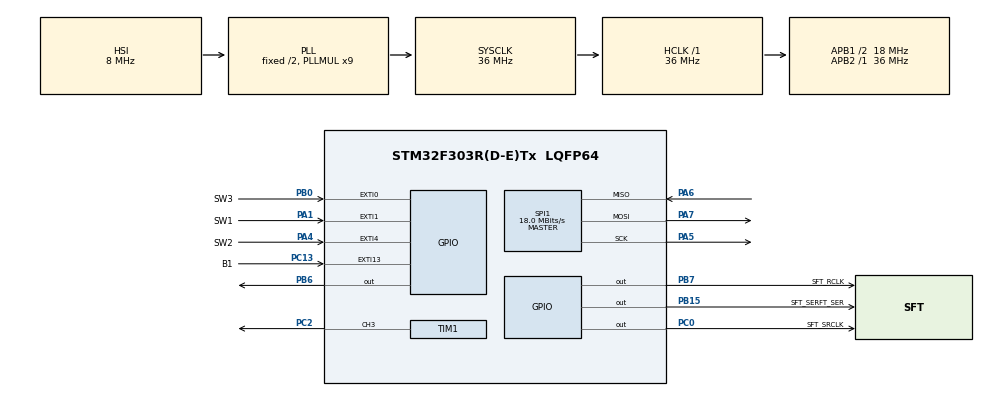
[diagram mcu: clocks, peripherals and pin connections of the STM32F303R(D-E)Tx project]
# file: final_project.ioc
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Mcu.Family=STM32F3
Mcu.Name=STM32F303R(D-E)Tx
Mcu.Package=LQFP64
NVIC.EXTI0_IRQn=true\:0\:0\:false\:false\:true\:true\:true\:true
NVIC.EXTI15_10_IRQn=true\:0\:0\:false\:false\:true\:true\:true\:true
NVIC.EXTI1_IRQn=true\:0\:0\:false\:false\:true\:true\:true\:true
NVIC.EXTI4_IRQn=true\:0\:0\:false\:false\:true\:true\:true\:true
NVIC.PriorityGroup=NVIC_PRIORITYGROUP_0
NVIC.SPI1_IRQn=true\:0\:0\:false\:false\:true\:true\:true\:true
NVIC.TIM6_DAC_IRQn=true\:0\:0\:false\:false\:true\:true\:true\:true
NVIC.TIM7_IRQn=true\:0\:0\:false\:false\:true\:true\:true\:true
PA1.GPIO_Label=SW1
PA1.GPIO_ModeDefaultEXTI=GPIO_MODE_IT_RISING_FALLING
PA1.Signal=GPXTI1
PA4.GPIO_Label=SW2
PA4.GPIO_ModeDefaultEXTI=GPIO_MODE_IT_RISING_FALLING
PA4.Signal=GPXTI4
PA5.Mode=Full_Duplex_Master
PA5.Signal=SPI1_SCK
PA6.Mode=Full_Duplex_Master
PA6.Signal=SPI1_MISO
PA7.Mode=Full_Duplex_Master
PA7.Signal=SPI1_MOSI
PB0.GPIO_Label=SW3
PB0.GPIO_ModeDefaultEXTI=GPIO_MODE_IT_RISING_FALLING
PB0.Signal=GPXTI0
PB15.GPIO_Label=SFT_SERFT_SER
PB15.Signal=GPIO_Output
PB6.Signal=GPIO_Output
PB7.GPIO_Label=SFT_RCLK
PB7.Signal=GPIO_Output
PC0.GPIO_Label=SFT_SRCLK
PC0.Signal=GPIO_Output
PC13.GPIO_Label=B1
PC13.Signal=GPXTI13
PC2.Signal=S_TIM1_CH3
ProjectManager.HeapSize=0x200
ProjectManager.StackSize=0x400
ProjectManager.TargetToolchain=STM32CubeIDE
RCC.AHBFreq_Value=36000000
RCC.APB1CLKDivider=RCC_HCLK_DIV2
RCC.APB1Freq_Value=18000000
RCC.APB1TimFreq_Value=36000000
RCC.APB2Freq_Value=36000000
RCC.APB2TimFreq_Value=36000000
RCC.CortexFreq_Value=36000000
RCC.HCLKFreq_Value=36000000
RCC.HSE_VALUE=8000000
RCC.HSI_VALUE=8000000
RCC.LSE_VALUE=32768
RCC.PLLM=8
RCC.PLLMUL=RCC_PLL_MUL9
RCC.PLLN=336
RCC.PLLP=RCC_PLLP_DIV4
RCC.PLLQ=7
RCC.RCC_PLLsource_Clock_Source_FROM_HSE=RCC_HSE_PREDIV_DIV2
RCC.SYSCLKFreq_VALUE=36000000
RCC.SYSCLKSourceVirtual=RCC_SYSCLKSOURCE_PLLCLK
RCC.USBFreq_Value=36000000
SH.S_TIM1_CH3.0=TIM1_CH3,PWM Generation3 CH3
SPI1.BaudRatePrescaler=SPI_BAUDRATEPRESCALER_2
SPI1.CLKPhase=SPI_PHASE_2EDGE
SPI1.CLKPolarity=SPI_POLARITY_HIGH
SPI1.CRCCalculation=SPI_CRCCALCULATION_DISABLE
SPI1.CalculateBaudRate=18.0 MBits/s
SPI1.DataSize=SPI_DATASIZE_8BIT
SPI1.Direction=SPI_DIRECTION_2LINES
SPI1.Mode=SPI_MODE_MASTER
SPI1.VirtualType=VM_MASTER
TIM1.Channel-PWM\ Generation3\ CH3=TIM_CHANNEL_3
TIM1.Period=296
TIM1.Prescaler=999
TIM1.Pulse-PWM\ Generation3\ CH3=198
TIM6.Period=7199
TIM6.Prescaler=9999
TIM7.Period=71
TIM7.Prescaler=999
VP_TIM1_VS_ClockSourceINT.Mode=Internal
VP_TIM6_VS_ClockSourceINT.Mode=Enable_Timer
VP_TIM7_VS_ClockSourceINT.Mode=Enable_Timer
board=NUCLEO-F303RE

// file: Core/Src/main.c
/* USER CODE BEGIN Header */
/**
  ******************************************************************************
  * @file           : main.c
  * @brief          : Main program body
  ******************************************************************************
  * @attention
  *
  * Copyright (c) 2025 STMicroelectronics.
  * All rights reserved.
  *
  * This software is licensed under terms that can be found in the LICENSE file
  * in the root directory of this software component.
  * If no LICENSE file comes with this software, it is provided AS-IS.
  *
  ******************************************************************************
  */
/* USER CODE END Header */
#include "main.h"

/* USER CODE BEGIN Includes */
#include "coast.h"
#include "interrupt.h"
#include "buzzer.h"
#include <stdbool.h>
/* USER CODE END Includes */

/* USER CODE BEGIN PD */
#define LSM6DS3_CS_PORT GPIOB
#define LSM6DS3_CS_PIN  GPIO_PIN_6

#define LSM6DS3_CS_LOW()  HAL_GPIO_WritePin(LSM6DS3_CS_PORT, LSM6DS3_CS_PIN, GPIO_PIN_RESET)
#define LSM6DS3_CS_HIGH() HAL_GPIO_WritePin(LSM6DS3_CS_PORT, LSM6DS3_CS_PIN, GPIO_PIN_SET)

/* USER CODE END PD */

SPI_HandleTypeDef hspi1;

TIM_HandleTypeDef htim1;
TIM_HandleTypeDef htim6;
TIM_HandleTypeDef htim7;

/* USER CODE BEGIN PV */
uint32_t seconds = 0;
uint32_t period_count = 0;
uint32_t decimal_second_count = 0;
uint32_t button_double_press_time[4];
uint32_t button_holding_time[4];

/* button press check */
bool button1 = false;
bool button2 = false;
bool button3 = false;
bool buttonB = false;

/* double press interval and holding time */
uint32_t double_press_interval = 10;
uint32_t holding_bound = 15;
/* press check */
bool is_single_press[4];
bool is_double_press[4];
bool is_holding[4];

/* sound setting */
bool enable_sound = true;
bool enable_vibration = true;

/* screen navigation */
typedef struct {
	bool screen_homepage;
	bool sceen_countdown;
	bool screen_stopwatch;
	bool screen_alarm;
	bool screen_setting_1;
	bool screen_setting_2;
}Navigation;

Navigation screen = {
    .screen_homepage = true,
    .sceen_countdown = false,
    .screen_stopwatch = false,
    .screen_alarm = false,
    .screen_setting_1 = false,
    .screen_setting_2 = false
};

/*  */

/* Private functions ---------------------------------------------------------*/

/* USER CODE END PV */

void SystemClock_Config(void);
static void MX_GPIO_Init(void);
static void MX_TIM1_Init(void);
static void MX_TIM6_Init(void);
static void MX_TIM7_Init(void);
static void MX_SPI1_Init(void);
/* USER CODE BEGIN PFP */
extern void coast_asm_delay(uint32_t milliseconds);
uint8_t LSM6DS3_ReadReg(uint8_t reg_addr);
void LSM6DS3_WriteReg(uint8_t reg_addr, uint8_t data);
void LSM6DS3_Test();
/* USER CODE END PFP */

int main(void)
{

  /* MCU Configuration--------------------------------------------------------*/

  /* Reset of all peripherals, Initializes the Flash interface and the Systick. */
  HAL_Init();

  /* Configure the system clock */
  SystemClock_Config();

  /* Initialize all configured peripherals */
  MX_GPIO_Init();
  MX_TIM1_Init();
  MX_TIM6_Init();
  MX_TIM7_Init();
  MX_SPI1_Init();
  /* USER CODE BEGIN 2 */
  HAL_Delay(100);

  LSM6DS3_Test();
  HAL_TIM_Base_Start_IT(&htim6);
  HAL_TIM_Base_Start_IT(&htim7);

  // 启用加速度器，104Hz，2g，BW=50Hz
  LSM6DS3_WriteReg(0x10, 0x40);  // CTRL1_XL

//  for (int i =0 ; i < 4; i++) {
//	  button_double_press_time[i] = 0;
//	  button_holding_time[i] = 0;
//  }
  /* USER CODE END 2 */

  /* Infinite loop */
  while (1)
  {

  }
}

void SystemClock_Config(void)
{
  RCC_OscInitTypeDef RCC_OscInitStruct = {0};
  RCC_ClkInitTypeDef RCC_ClkInitStruct = {0};
  RCC_PeriphCLKInitTypeDef PeriphClkInit = {0};

  /** Initializes the RCC Oscillators according to the specified parameters
  * in the RCC_OscInitTypeDef structure.
  */
  RCC_OscInitStruct.OscillatorType = RCC_OSCILLATORTYPE_HSI;
  RCC_OscInitStruct.HSIState = RCC_HSI_ON;
  RCC_OscInitStruct.HSICalibrationValue = RCC_HSICALIBRATION_DEFAULT;
  RCC_OscInitStruct.PLL.PLLState = RCC_PLL_ON;
  RCC_OscInitStruct.PLL.PLLSource = RCC_PLLSOURCE_HSI;
  RCC_OscInitStruct.PLL.PLLMUL = RCC_PLL_MUL9;
  RCC_OscInitStruct.PLL.PREDIV = RCC_PREDIV_DIV1;
  if (HAL_RCC_OscConfig(&RCC_OscInitStruct) != HAL_OK)
  {
    Error_Handler();
  }

  /** Initializes the CPU, AHB and APB buses clocks
  */
  RCC_ClkInitStruct.ClockType = RCC_CLOCKTYPE_HCLK|RCC_CLOCKTYPE_SYSCLK
                              |RCC_CLOCKTYPE_PCLK1|RCC_CLOCKTYPE_PCLK2;
  RCC_ClkInitStruct.SYSCLKSource = RCC_SYSCLKSOURCE_PLLCLK;
  RCC_ClkInitStruct.AHBCLKDivider = RCC_SYSCLK_DIV1;
  RCC_ClkInitStruct.APB1CLKDivider = RCC_HCLK_DIV2;
  RCC_ClkInitStruct.APB2CLKDivider = RCC_HCLK_DIV1;

  if (HAL_RCC_ClockConfig(&RCC_ClkInitStruct, FLASH_LATENCY_1) != HAL_OK)
  {
    Error_Handler();
  }
  PeriphClkInit.PeriphClockSelection = RCC_PERIPHCLK_TIM1;
  PeriphClkInit.Tim1ClockSelection = RCC_TIM1CLK_HCLK;
  if (HAL_RCCEx_PeriphCLKConfig(&PeriphClkInit) != HAL_OK)
  {
    Error_Handler();
  }
}

static void MX_SPI1_Init(void)
{

  /* SPI1 parameter configuration*/
  hspi1.Instance = SPI1;
  hspi1.Init.Mode = SPI_MODE_MASTER;
  hspi1.Init.Direction = SPI_DIRECTION_2LINES;
  hspi1.Init.DataSize = SPI_DATASIZE_8BIT;
  hspi1.Init.CLKPolarity = SPI_POLARITY_HIGH;
  hspi1.Init.CLKPhase = SPI_PHASE_2EDGE;
  hspi1.Init.NSS = SPI_NSS_SOFT;
  hspi1.Init.BaudRatePrescaler = SPI_BAUDRATEPRESCALER_2;
  hspi1.Init.FirstBit = SPI_FIRSTBIT_MSB;
  hspi1.Init.TIMode = SPI_TIMODE_DISABLE;
  hspi1.Init.CRCCalculation = SPI_CRCCALCULATION_DISABLE;
  hspi1.Init.CRCPolynomial = 7;
  hspi1.Init.CRCLength = SPI_CRC_LENGTH_DATASIZE;
  hspi1.Init.NSSPMode = SPI_NSS_PULSE_DISABLE;
  if (HAL_SPI_Init(&hspi1) != HAL_OK)
  {
    Error_Handler();
  }

}

static void MX_TIM1_Init(void)
{

  TIM_ClockConfigTypeDef sClockSourceConfig = {0};
  TIM_MasterConfigTypeDef sMasterConfig = {0};
  TIM_OC_InitTypeDef sConfigOC = {0};
  TIM_BreakDeadTimeConfigTypeDef sBreakDeadTimeConfig = {0};

  htim1.Instance = TIM1;
  htim1.Init.Prescaler = 999;
  htim1.Init.CounterMode = TIM_COUNTERMODE_UP;
  htim1.Init.Period = 296;
  htim1.Init.ClockDivision = TIM_CLOCKDIVISION_DIV1;
  htim1.Init.RepetitionCounter = 0;
  htim1.Init.AutoReloadPreload = TIM_AUTORELOAD_PRELOAD_DISABLE;
  if (HAL_TIM_Base_Init(&htim1) != HAL_OK)
  {
    Error_Handler();
  }
  sClockSourceConfig.ClockSource = TIM_CLOCKSOURCE_INTERNAL;
  if (HAL_TIM_ConfigClockSource(&htim1, &sClockSourceConfig) != HAL_OK)
  {
    Error_Handler();
  }
  if (HAL_TIM_PWM_Init(&htim1) != HAL_OK)
  {
    Error_Handler();
  }
  sMasterConfig.MasterOutputTrigger = TIM_TRGO_RESET;
  sMasterConfig.MasterOutputTrigger2 = TIM_TRGO2_RESET;
  sMasterConfig.MasterSlaveMode = TIM_MASTERSLAVEMODE_DISABLE;
  if (HAL_TIMEx_MasterConfigSynchronization(&htim1, &sMasterConfig) != HAL_OK)
  {
    Error_Handler();
  }
  sConfigOC.OCMode = TIM_OCMODE_PWM1;
  sConfigOC.Pulse = 198;
  sConfigOC.OCPolarity = TIM_OCPOLARITY_HIGH;
  sConfigOC.OCNPolarity = TIM_OCNPOLARITY_HIGH;
  sConfigOC.OCFastMode = TIM_OCFAST_DISABLE;
  sConfigOC.OCIdleState = TIM_OCIDLESTATE_RESET;
  sConfigOC.OCNIdleState = TIM_OCNIDLESTATE_RESET;
  if (HAL_TIM_PWM_ConfigChannel(&htim1, &sConfigOC, TIM_CHANNEL_3) != HAL_OK)
  {
    Error_Handler();
  }
  sBreakDeadTimeConfig.OffStateRunMode = TIM_OSSR_DISABLE;
  sBreakDeadTimeConfig.OffStateIDLEMode = TIM_OSSI_DISABLE;
  sBreakDeadTimeConfig.LockLevel = TIM_LOCKLEVEL_OFF;
  sBreakDeadTimeConfig.DeadTime = 0;
  sBreakDeadTimeConfig.BreakState = TIM_BREAK_DISABLE;
  sBreakDeadTimeConfig.BreakPolarity = TIM_BREAKPOLARITY_HIGH;
  sBreakDeadTimeConfig.BreakFilter = 0;
  sBreakDeadTimeConfig.Break2State = TIM_BREAK2_DISABLE;
  sBreakDeadTimeConfig.Break2Polarity = TIM_BREAK2POLARITY_HIGH;
  sBreakDeadTimeConfig.Break2Filter = 0;
  sBreakDeadTimeConfig.AutomaticOutput = TIM_AUTOMATICOUTPUT_DISABLE;
  if (HAL_TIMEx_ConfigBreakDeadTime(&htim1, &sBreakDeadTimeConfig) != HAL_OK)
  {
    Error_Handler();
  }
  HAL_TIM_MspPostInit(&htim1);

}

static void MX_TIM6_Init(void)
{

  TIM_MasterConfigTypeDef sMasterConfig = {0};

  htim6.Instance = TIM6;
  htim6.Init.Prescaler = 9999;
  htim6.Init.CounterMode = TIM_COUNTERMODE_UP;
  htim6.Init.Period = 7199;
  htim6.Init.AutoReloadPreload = TIM_AUTORELOAD_PRELOAD_DISABLE;
  if (HAL_TIM_Base_Init(&htim6) != HAL_OK)
  {
    Error_Handler();
  }
  sMasterConfig.MasterOutputTrigger = TIM_TRGO_RESET;
  sMasterConfig.MasterSlaveMode = TIM_MASTERSLAVEMODE_DISABLE;
  if (HAL_TIMEx_MasterConfigSynchronization(&htim6, &sMasterConfig) != HAL_OK)
  {
    Error_Handler();
  }

}

static void MX_TIM7_Init(void)
{

  TIM_MasterConfigTypeDef sMasterConfig = {0};

  htim7.Instance = TIM7;
  htim7.Init.Prescaler = 999;
  htim7.Init.CounterMode = TIM_COUNTERMODE_UP;
  htim7.Init.Period = 71;
  htim7.Init.AutoReloadPreload = TIM_AUTORELOAD_PRELOAD_DISABLE;
  if (HAL_TIM_Base_Init(&htim7) != HAL_OK)
  {
    Error_Handler();
  }
  sMasterConfig.MasterOutputTrigger = TIM_TRGO_RESET;
  sMasterConfig.MasterSlaveMode = TIM_MASTERSLAVEMODE_DISABLE;
  if (HAL_TIMEx_MasterConfigSynchronization(&htim7, &sMasterConfig) != HAL_OK)
  {
    Error_Handler();
  }

}

static void MX_GPIO_Init(void)
{
  GPIO_InitTypeDef GPIO_InitStruct = {0};

  /* GPIO Ports Clock Enable */
  __HAL_RCC_GPIOC_CLK_ENABLE();
  __HAL_RCC_GPIOA_CLK_ENABLE();
  __HAL_RCC_GPIOB_CLK_ENABLE();

  /*Configure GPIO pin Output Level */
  HAL_GPIO_WritePin(SFT_SRCLK_GPIO_Port, SFT_SRCLK_Pin, GPIO_PIN_RESET);

  /*Configure GPIO pin Output Level */
  HAL_GPIO_WritePin(GPIOB, SFT_SERFT_SER_Pin|GPIO_PIN_6|SFT_RCLK_Pin, GPIO_PIN_RESET);

  /*Configure GPIO pin : B1_Pin */
  GPIO_InitStruct.Pin = B1_Pin;
  GPIO_InitStruct.Mode = GPIO_MODE_IT_RISING;
  GPIO_InitStruct.Pull = GPIO_NOPULL;
  HAL_GPIO_Init(B1_GPIO_Port, &GPIO_InitStruct);

  /*Configure GPIO pin : SFT_SRCLK_Pin */
  GPIO_InitStruct.Pin = SFT_SRCLK_Pin;
  GPIO_InitStruct.Mode = GPIO_MODE_OUTPUT_PP;
  GPIO_InitStruct.Pull = GPIO_NOPULL;
  GPIO_InitStruct.Speed = GPIO_SPEED_FREQ_LOW;
  HAL_GPIO_Init(SFT_SRCLK_GPIO_Port, &GPIO_InitStruct);

  /*Configure GPIO pins : SW1_Pin SW2_Pin */
  GPIO_InitStruct.Pin = SW1_Pin|SW2_Pin;
  GPIO_InitStruct.Mode = GPIO_MODE_IT_RISING_FALLING;
  GPIO_InitStruct.Pull = GPIO_NOPULL;
  HAL_GPIO_Init(GPIOA, &GPIO_InitStruct);

  /*Configure GPIO pin : SW3_Pin */
  GPIO_InitStruct.Pin = SW3_Pin;
  GPIO_InitStruct.Mode = GPIO_MODE_IT_RISING_FALLING;
  GPIO_InitStruct.Pull = GPIO_NOPULL;
  HAL_GPIO_Init(SW3_GPIO_Port, &GPIO_InitStruct);

  /*Configure GPIO pins : SFT_SERFT_SER_Pin PB6 SFT_RCLK_Pin */
  GPIO_InitStruct.Pin = SFT_SERFT_SER_Pin|GPIO_PIN_6|SFT_RCLK_Pin;
  GPIO_InitStruct.Mode = GPIO_MODE_OUTPUT_PP;
  GPIO_InitStruct.Pull = GPIO_NOPULL;
  GPIO_InitStruct.Speed = GPIO_SPEED_FREQ_LOW;
  HAL_GPIO_Init(GPIOB, &GPIO_InitStruct);

  /* EXTI interrupt init*/
  HAL_NVIC_SetPriority(EXTI0_IRQn, 0, 0);
  HAL_NVIC_EnableIRQ(EXTI0_IRQn);

  HAL_NVIC_SetPriority(EXTI1_IRQn, 0, 0);
  HAL_NVIC_EnableIRQ(EXTI1_IRQn);

  HAL_NVIC_SetPriority(EXTI4_IRQn, 0, 0);
  HAL_NVIC_EnableIRQ(EXTI4_IRQn);

  HAL_NVIC_SetPriority(EXTI15_10_IRQn, 0, 0);
  HAL_NVIC_EnableIRQ(EXTI15_10_IRQn);

  /* USER CODE BEGIN MX_GPIO_Init_2 */
	coast_gpio_init();
  /* USER CODE END MX_GPIO_Init_2 */
}

/* USER CODE BEGIN 4 */
void HAL_GPIO_EXTI_Callback(uint16_t GPIO_Pin) {
	if (GPIO_Pin == B1_Pin) {
		/* B1 is pressed */
		if (HAL_GPIO_ReadPin(B1_GPIO_Port, B1_Pin) == 1) {
			/* sound indication */
			if (sound_enable) {
				generate_sound(300,50,&htim1);
			}
			check_double_press(&is_first_press[0], &is_double_press[0], &is_holding[0],
					decimal_second_count, button_double_press_time[0],
					double_press_interval, &button_holding_time[0]);
		}
		/* B1 is released */
		else {
			stop_sound(&htim1);
			check_holding(&is_single_press[0], &is_double_press[0], &is_holding[0],
					holding_bound, decimal_second_count, button_holding_time[0],
					&button_double_press_time[0]);
		}
	} else if (GPIO_Pin == SW1_Pin) {
		/* The sw1 pin is pressed */
		if (HAL_GPIO_ReadPin(SW1_GPIO_Port, SW1_Pin) == 1) {
			/* sound indication */
			if (sound_enable) {
				generate_sound(300,50,&htim1);
			}
			check_double_press(&is_first_press[1], &is_double_press[1], &is_holding[1],
					decimal_second_count, button_double_press_time[1],
					double_press_interval, &button_holding_time[1]);
		}
		/* The sw1 pin is released */
		else {
			stop_sound(&htim1);
			check_holding(&is_single_press[1], &is_double_press[1], &is_holding[1],
					decimal_second_count, holding_bound,
					button_holding_time[1], &button_double_press_time[1]);
		}
	} else if (GPIO_Pin == SW2_Pin) {
		/* The sw2 pin is pressed */
		if (HAL_GPIO_ReadPin(SW2_GPIO_Port, SW2_Pin) == 1) {
			/* sound indication */
			if (sound_enable) {
				generate_sound(300,50,&htim1);
			}
			check_double_press(&is_single_press[2], &is_double_press[2],&is_holding[2],
					decimal_second_count, button_double_press_time[2],
					double_press_interval, &button_holding_time[2]);
		}

		/* The sw2 pin is released */
		else {
			stop_sound(&htim1);
			check_holding(&is_single_press[2], &is_double_press[2], &is_holding[2],
					 decimal_second_count, holding_bound,
					 button_holding_time[2], &button_double_press_time[2]);
		}
	} else {
		/* The sw3 pin is pressed */
		if (HAL_GPIO_ReadPin(SW3_GPIO_Port, SW3_Pin) == 1) {
			/* sound indication */
			if (sound_enable) {
				generate_sound(300,50,&htim1);
			}
			check_double_press(&is_single_press[3], &is_double_press[3], &is_holding[3],
				decimal_second_count, button_double_press_time[3],
				double_press_interval, &button_holding_time[3]);
		}
		/* The sw3 pin is released */
		else {
			stop_sound(&htim1);
			check_holding(&is_single_press[3], &is_double_press[3], &is_holding[3],
				 decimal_second_count, holding_bound,
				 button_holding_time[3], &button_double_press_time[3]);
		}
	}
}

void HAL_TIM_PeriodElapsedCallback(TIM_HandleTypeDef *htim) {
	if (htim == &htim6) {
		/* increment 1 second to count the time for entire project */
		seconds++;
	} else if (htim == &htim7) {
		/* increment 1 millisecond to control the brightness of 16 serial LEDS */
		if (period_count >= 100) {
			decimal_second_count++; // every 100 millisecond or 0.1 second increment 1;
			period_count = 1;
		} else {
			period_count++;
		}

		if (period_count == duty_cycle) {
			HAL_GPIO_WritePin(SFT_SER_GPIO_Port, SFT_SER_Pin, GPIO_PIN_RESET);
			for (int i = 0; i < 16; i++) {
				HAL_GPIO_WritePin(SFT_SRCLK_GPIO_Port, SFT_SRCLK_Pin, GPIO_PIN_SET);
				HAL_GPIO_WritePin(SFT_SRCLK_GPIO_Port, SFT_SRCLK_Pin, GPIO_PIN_RESET);
			}
			HAL_GPIO_WritePin(SFT_RCLK_GPIO_Port, SFT_RCLK_Pin, GPIO_PIN_SET);
			HAL_GPIO_WritePin(SFT_RCLK_GPIO_Port, SFT_RCLK_Pin, GPIO_PIN_RESET);
		} else if (period_count == 0) {
			HAL_GPIO_WritePin(SFT_SER_GPIO_Port, SFT_SER_Pin, GPIO_PIN_SET);
			for (int i = 0; i < 16; i++) {
				HAL_GPIO_WritePin(SFT_SRCLK_GPIO_Port, SFT_SRCLK_Pin, GPIO_PIN_SET);
				HAL_GPIO_WritePin(SFT_SRCLK_GPIO_Port, SFT_SRCLK_Pin, GPIO_PIN_RESET);
			}
			HAL_GPIO_WritePin(SFT_RCLK_GPIO_Port, SFT_RCLK_Pin, GPIO_PIN_SET);
			HAL_GPIO_WritePin(SFT_RCLK_GPIO_Port, SFT_RCLK_Pin, GPIO_PIN_RESET);
		}
	}
}

uint8_t LSM6DS3_ReadReg(uint8_t reg_addr)
{
    uint8_t tx_buf[2];
    uint8_t rx_buf[2];

    tx_buf[0] = reg_addr | 0x80;  // 读寄存器，bit7=1
    tx_buf[1] = 0x00;

    LSM6DS3_CS_LOW();
    HAL_SPI_TransmitReceive(&hspi1, tx_buf, rx_buf, 2, HAL_MAX_DELAY);
    LSM6DS3_CS_HIGH();

    return rx_buf[1];
}

void LSM6DS3_WriteReg(uint8_t reg_addr, uint8_t data)
{
    uint8_t tx_buf[2] = { reg_addr & 0x7F, data };  // 写寄存器，bit7=0

    LSM6DS3_CS_LOW();
    HAL_SPI_Transmit(&hspi1, tx_buf, 2, HAL_MAX_DELAY);
    LSM6DS3_CS_HIGH();
}

void LSM6DS3_Test()
{
    uint8_t who_am_i = LSM6DS3_ReadReg(0x0F);  // WHO_AM_I 地址
    if (who_am_i == 0x69) {
        printf("LSM6DS3 detected!\n");
    } else {
        printf("Unexpected WHO_AM_I: 0x%02X\n", who_am_i);
    }
}

/* USER CODE END 4 */

void Error_Handler(void)
{
  __disable_irq();
  while (1)
  {
  }
}
